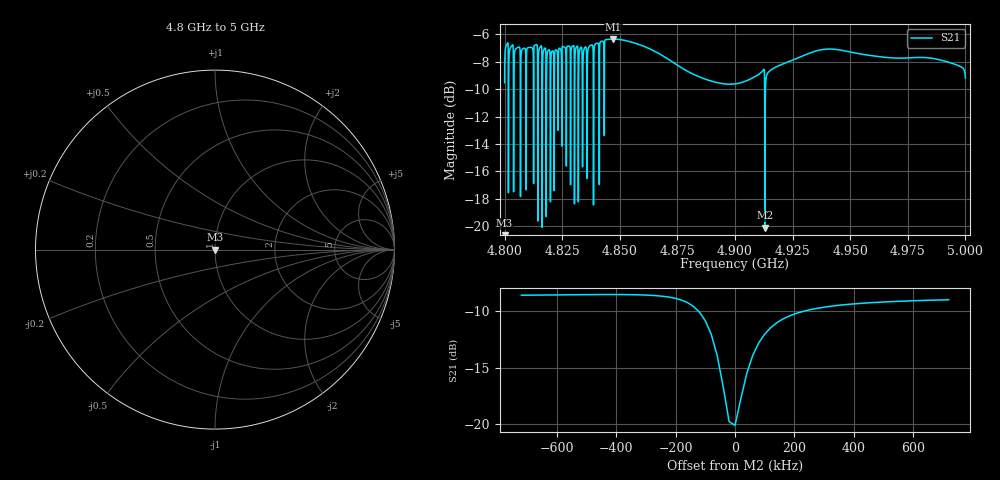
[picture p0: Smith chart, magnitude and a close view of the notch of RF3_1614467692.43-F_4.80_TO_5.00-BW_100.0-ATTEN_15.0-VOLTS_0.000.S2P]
!Keysight Technologies,E5063A,MY54502693,A.05.04
!Date: Sat Feb 27 16:15:11 2021
!Data & Calibration Information:
!Freq	S11:NONE(--)	S21:NONE(--)	S12:NONE(--)	S22:NONE(--)
# Hz S RI R 50
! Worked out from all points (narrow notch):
!   10000 points, 4.8 GHz to 5 GHz, reference 50 ohm
!   highest |S21| = -6.36 dB at 4.8471 GHz (marker M1); lowest = -20.1 dB at 4.913 GHz (marker M2)
!   notch at M2: 12.4 dB deep, 121 kHz wide at half that depth
!   lowest |S11| = - dB at 4.8 GHz (marker M3), VSWR 1.00, Z = 50 + j0 ohm
!   |S11| at or under -10 dB: start of sweep to end of sweep
!   S12 and S22 are empty: the file has one direction only
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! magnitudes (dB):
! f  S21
! 4.8 GHz  -9.5
! 4.8006 GHz  -6.9
! 4.8048 GHz  -7.1
! 4.8057 GHz  -7.0
! 4.8076 GHz  -7.1
! 4.8113 GHz  -7.0
! 4.8169 GHz  -7.2
! 4.8172 GHz  -7.1
! 4.8257 GHz  -6.9
! 4.8308 GHz  -7.1
! 4.8312 GHz  -6.9
! 4.8333 GHz  -7.0
! 4.8471 GHz  -6.4
! 4.8667 GHz  -7.4
! 4.9 GHz  -9.6
! 4.9118 GHz  -8.7
! 4.913 GHz  -20.1
! 4.9157 GHz  -8.6
! 4.9334 GHz  -7.3
! 4.9667 GHz  -7.7
! 4.988 GHz  -7.8
! 5 GHz  -9.2
